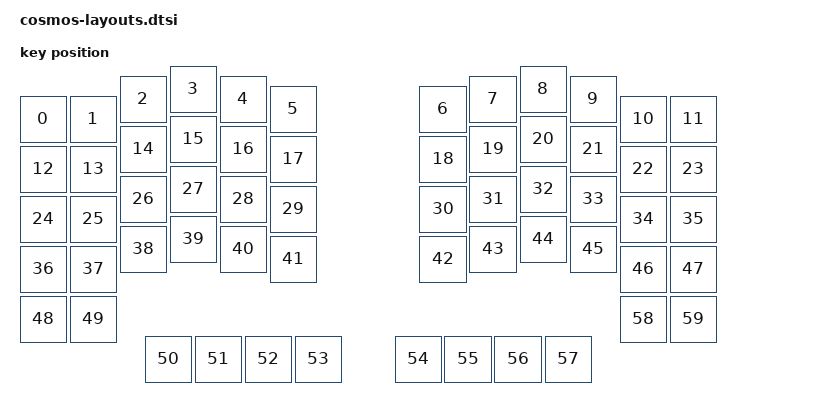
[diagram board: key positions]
/*
 * Physical layout for ZMK Studio. GENERATED by scripts/gen_cosmos_layout.py -
 * purely cosmetic, but the key ORDER must match default_transform's map in
 * cosmos.dtsi.
 * SPDX-License-Identifier: MIT
 */

#include <physical_layouts.dtsi>

/ {
    cosmos_layout: cosmos_layout {
        compatible = "zmk,physical-layout";
        display-name = "Cosmos 5x6";
        keys  //                     w   h    x    y  rot  rx  ry
            = <&key_physical_attrs 100 100    0   60    0   0   0>
            , <&key_physical_attrs 100 100  100   60    0   0   0>
            , <&key_physical_attrs 100 100  200   20    0   0   0>
            , <&key_physical_attrs 100 100  300    0    0   0   0>
            , <&key_physical_attrs 100 100  400   20    0   0   0>
            , <&key_physical_attrs 100 100  500   40    0   0   0>
            , <&key_physical_attrs 100 100  800   40    0   0   0>
            , <&key_physical_attrs 100 100  900   20    0   0   0>
            , <&key_physical_attrs 100 100 1000    0    0   0   0>
            , <&key_physical_attrs 100 100 1100   20    0   0   0>
            , <&key_physical_attrs 100 100 1200   60    0   0   0>
            , <&key_physical_attrs 100 100 1300   60    0   0   0>
            , <&key_physical_attrs 100 100    0  160    0   0   0>
            , <&key_physical_attrs 100 100  100  160    0   0   0>
            , <&key_physical_attrs 100 100  200  120    0   0   0>
            , <&key_physical_attrs 100 100  300  100    0   0   0>
            , <&key_physical_attrs 100 100  400  120    0   0   0>
            , <&key_physical_attrs 100 100  500  140    0   0   0>
            , <&key_physical_attrs 100 100  800  140    0   0   0>
            , <&key_physical_attrs 100 100  900  120    0   0   0>
            , <&key_physical_attrs 100 100 1000  100    0   0   0>
            , <&key_physical_attrs 100 100 1100  120    0   0   0>
            , <&key_physical_attrs 100 100 1200  160    0   0   0>
            , <&key_physical_attrs 100 100 1300  160    0   0   0>
            , <&key_physical_attrs 100 100    0  260    0   0   0>
            , <&key_physical_attrs 100 100  100  260    0   0   0>
            , <&key_physical_attrs 100 100  200  220    0   0   0>
            , <&key_physical_attrs 100 100  300  200    0   0   0>
            , <&key_physical_attrs 100 100  400  220    0   0   0>
            , <&key_physical_attrs 100 100  500  240    0   0   0>
            , <&key_physical_attrs 100 100  800  240    0   0   0>
            , <&key_physical_attrs 100 100  900  220    0   0   0>
            , <&key_physical_attrs 100 100 1000  200    0   0   0>
            , <&key_physical_attrs 100 100 1100  220    0   0   0>
            , <&key_physical_attrs 100 100 1200  260    0   0   0>
            , <&key_physical_attrs 100 100 1300  260    0   0   0>
            , <&key_physical_attrs 100 100    0  360    0   0   0>
            , <&key_physical_attrs 100 100  100  360    0   0   0>
            , <&key_physical_attrs 100 100  200  320    0   0   0>
            , <&key_physical_attrs 100 100  300  300    0   0   0>
            , <&key_physical_attrs 100 100  400  320    0   0   0>
            , <&key_physical_attrs 100 100  500  340    0   0   0>
            , <&key_physical_attrs 100 100  800  340    0   0   0>
            , <&key_physical_attrs 100 100  900  320    0   0   0>
            , <&key_physical_attrs 100 100 1000  300    0   0   0>
            , <&key_physical_attrs 100 100 1100  320    0   0   0>
            , <&key_physical_attrs 100 100 1200  360    0   0   0>
            , <&key_physical_attrs 100 100 1300  360    0   0   0>
            , <&key_physical_attrs 100 100    0  460    0   0   0>
            , <&key_physical_attrs 100 100  100  460    0   0   0>
            , <&key_physical_attrs 100 100  250  540    0   0   0>
            , <&key_physical_attrs 100 100  350  540    0   0   0>
            , <&key_physical_attrs 100 100  450  540    0   0   0>
            , <&key_physical_attrs 100 100  550  540    0   0   0>
            , <&key_physical_attrs 100 100  750  540    0   0   0>
            , <&key_physical_attrs 100 100  850  540    0   0   0>
            , <&key_physical_attrs 100 100  950  540    0   0   0>
            , <&key_physical_attrs 100 100 1050  540    0   0   0>
            , <&key_physical_attrs 100 100 1200  460    0   0   0>
            , <&key_physical_attrs 100 100 1300  460    0   0   0>;
    };
};
